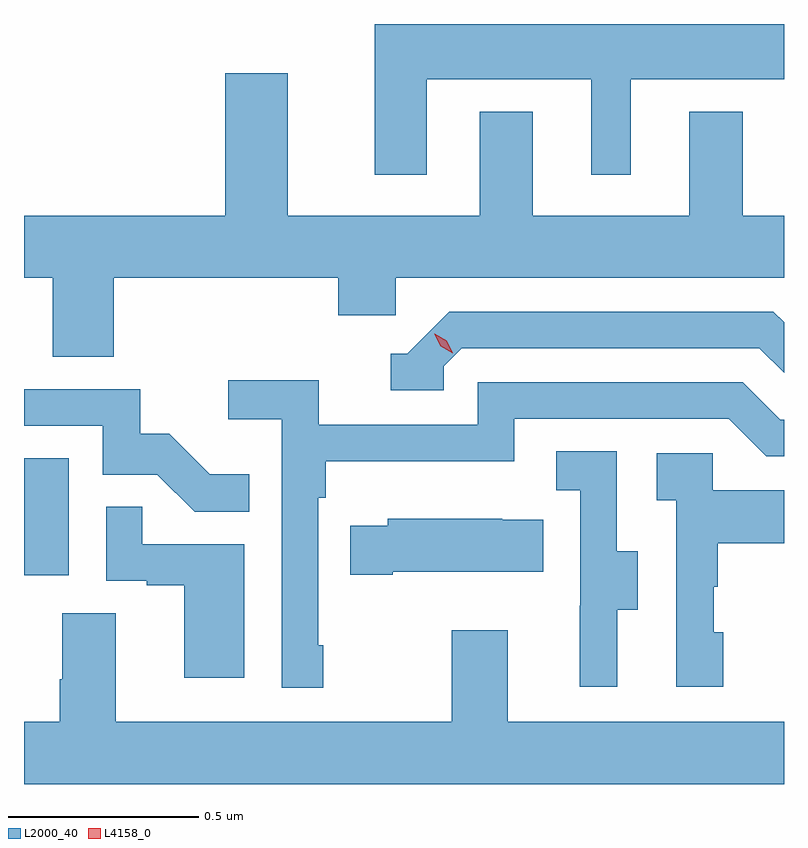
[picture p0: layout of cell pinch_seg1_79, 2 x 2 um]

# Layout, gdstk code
import gdstk
lib = gdstk.Library(unit=1e-6, precision=1e-09)
def R(c, l, rs):  # rectangles x0, y0, x1, y1
    for r in rs: c.add(gdstk.rectangle(r[:2], r[2:], *l))
def P(c, l, *ps):  # polygons
    for p in ps: c.add(gdstk.Polygon(p, *l))
L2000_40 = (2000, 40)
L4158_0 = (4158, 0)

pinch_seg1_79 = lib.new_cell('pinch_seg1_79')
R(pinch_seg1_79, L2000_40, [(1027.614,574.926,1027.732,575.233)])
P(pinch_seg1_79, L2000_40, [(1028.674,576.23),(1029.107,576.23),(1029.107,575.979),(1029.211,575.979),(1029.211,576.23),(1029.614,576.23),(1029.614,576.376),(1028.537,576.376),(1028.537,575.979),(1028.674,575.979)],
  [(1027.85,575.708),(1028.441,575.708),(1028.441,575.61),(1028.592,575.61),(1028.592,575.708),(1029.614,575.708),(1029.614,575.872),(1029.505,575.872),(1029.505,576.145),(1029.365,576.145),(1029.365,575.872),(1028.953,575.872),(1028.953,576.145),(1028.813,576.145),(1028.813,575.872),(1028.308,575.872),(1028.308,576.247),(1028.144,576.247),(1028.144,575.872),(1027.614,575.872),(1027.614,575.708),(1027.69,575.708),(1027.69,575.5),(1027.85,575.5)],
  [(1028.718,575.475),(1028.766,575.523),(1029.549,575.523),(1029.614,575.458),(1029.614,575.591),(1029.586,575.619),(1028.733,575.619),(1028.622,575.508),(1028.579,575.508),(1028.579,575.412),(1028.718,575.412)],
  [(1028.401,574.741),(1028.388,574.741),(1028.388,575.129),(1028.408,575.129),(1028.408,575.225),(1028.904,575.225),(1028.904,575.337),(1029.468,575.337),(1029.567,575.238),(1029.614,575.238),(1029.614,575.334),(1029.604,575.334),(1029.505,575.433),(1028.808,575.433),(1028.808,575.322),(1028.39,575.322),(1028.39,575.438),(1028.151,575.438),(1028.151,575.336),(1028.292,575.336),(1028.292,574.629),(1028.401,574.629)],
  [(1028.207,575.191),(1028.103,575.191),(1027.996,575.298),(1027.92,575.298),(1027.92,575.415),(1027.614,575.415),(1027.614,575.319),(1027.821,575.319),(1027.821,575.19),(1027.965,575.19),(1028.063,575.092),(1028.207,575.092)],
  [(1029.175,574.834),(1029.229,574.834),(1029.229,574.989),(1029.174,574.989),(1029.174,575.252),(1029.015,575.252),(1029.015,575.149),(1029.078,575.149),(1029.078,574.845),(1029.077,574.845),(1029.077,574.632),(1029.175,574.632)],
  [(1029.454,574.776),(1029.429,574.776),(1029.429,574.895),(1029.439,574.895),(1029.439,575.009),(1029.614,575.009),(1029.614,575.149),(1029.426,575.149),(1029.426,575.247),(1029.279,575.247),(1029.279,575.123),(1029.33,575.123),(1029.33,574.632),(1029.454,574.632)],
  [(1028.194,575.007),(1027.925,575.007),(1027.925,575.105),(1027.83,575.105),(1027.83,574.911),(1027.937,574.911),(1027.937,574.899),(1028.036,574.899),(1028.036,574.656),(1028.194,574.656)],
  [(1028.584,574.934),(1028.981,574.934),(1028.981,575.071),(1028.873,575.071),(1028.873,575.074),(1028.571,575.074),(1028.571,575.056),(1028.473,575.056),(1028.473,574.927),(1028.584,574.927)],
  [(1029.614,574.54),(1028.887,574.54),(1028.887,574.78),(1028.74,574.78),(1028.74,574.54),(1027.855,574.54),(1027.855,574.826),(1027.715,574.826),(1027.715,574.652),(1027.708,574.652),(1027.708,574.54),(1027.614,574.54),(1027.614,574.376),(1029.614,574.376)])
P(pinch_seg1_79, L4158_0, [(1028.742,575.509),(1028.711,575.528),(1028.694,575.561),(1028.694,575.561),(1028.695,575.561),(1028.726,575.542),(1028.742,575.509),(1028.742,575.509)])

lib.write_gds('pinch_seg1_79.gds')
